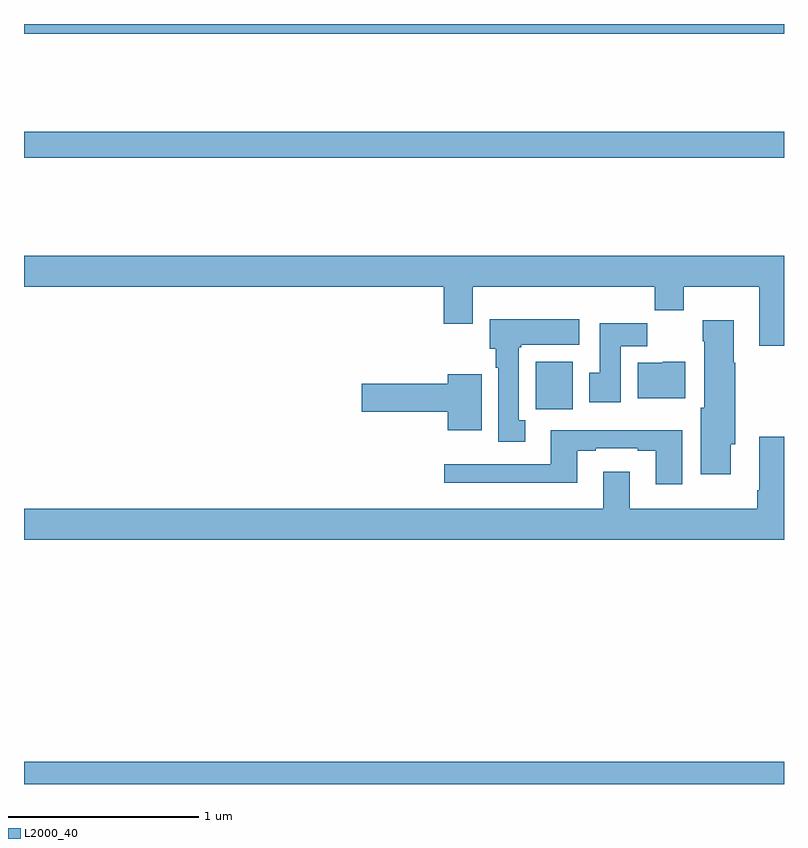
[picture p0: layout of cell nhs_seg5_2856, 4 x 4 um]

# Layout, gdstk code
import gdstk
lib = gdstk.Library(unit=1e-6, precision=1e-09)
def R(c, l, rs):  # rectangles x0, y0, x1, y1
    for r in rs: c.add(gdstk.rectangle(r[:2], r[2:], *l))
def P(c, l, *ps):  # polygons
    for p in ps: c.add(gdstk.Polygon(p, *l))
L2000_40 = (2000, 40)

nhs_seg5_2856 = lib.new_cell('nhs_seg5_2856')
R(nhs_seg5_2856, L2000_40, [(277,864.799,281,864.916), (279.693,866.772,279.889,867.022), (277,868.096,281,868.232), (277,868.748,281,868.799)])
P(nhs_seg5_2856, L2000_40, [(281,867.58),(277,867.58),(277,867.416),(279.209,867.416),(279.209,867.222),(279.361,867.222),(279.361,867.416),(280.321,867.416),(280.321,867.292),(280.473,867.292),(280.473,867.416),(280.871,867.416),(280.871,867.105),(281,867.105)],
  [(279.637,866.713),(279.604,866.713),(279.604,867.097),(279.618,867.097),(279.618,867.11),(279.922,867.11),(279.922,867.244),(279.452,867.244),(279.452,867.09),(279.482,867.09),(279.482,866.99),(279.497,866.99),(279.497,866.601),(279.637,866.601)],
  [(280.72,866.586),(280.743,866.586),(280.743,867.017),(280.735,867.017),(280.735,867.241),(280.573,867.241),(280.573,867.128),(280.58,867.128),(280.58,866.778),(280.562,866.778),(280.562,866.43),(280.72,866.43)],
  [(280.141,867.104),(280.28,867.104),(280.28,867.223),(280.031,867.223),(280.031,866.964),(279.974,866.964),(279.974,866.808),(280.141,866.808)],
  [(280.48,867.022),(280.362,867.022),(280.362,867.016),(280.229,867.016),(280.229,866.828),(280.48,866.828)],
  [(279.409,866.956),(279.23,866.956),(279.23,866.906),(278.778,866.906),(278.778,866.759),(279.23,866.759),(279.23,866.66),(279.409,866.66)],
  [(280.465,866.662),(279.773,866.662),(279.773,866.481),(279.213,866.481),(279.213,866.384),(279.913,866.384),(279.913,866.553),(280.009,866.553),(280.009,866.565),(280.229,866.565),(280.229,866.553),(280.325,866.553),(280.325,866.376),(280.465,866.376)],
  [(281,866.626),(280.871,866.626),(280.871,866.344),(280.859,866.344),(280.859,866.248),(280.189,866.248),(280.189,866.443),(280.049,866.443),(280.049,866.248),(277,866.248),(277,866.084),(281,866.084)])

lib.write_gds('nhs_seg5_2856.gds')
